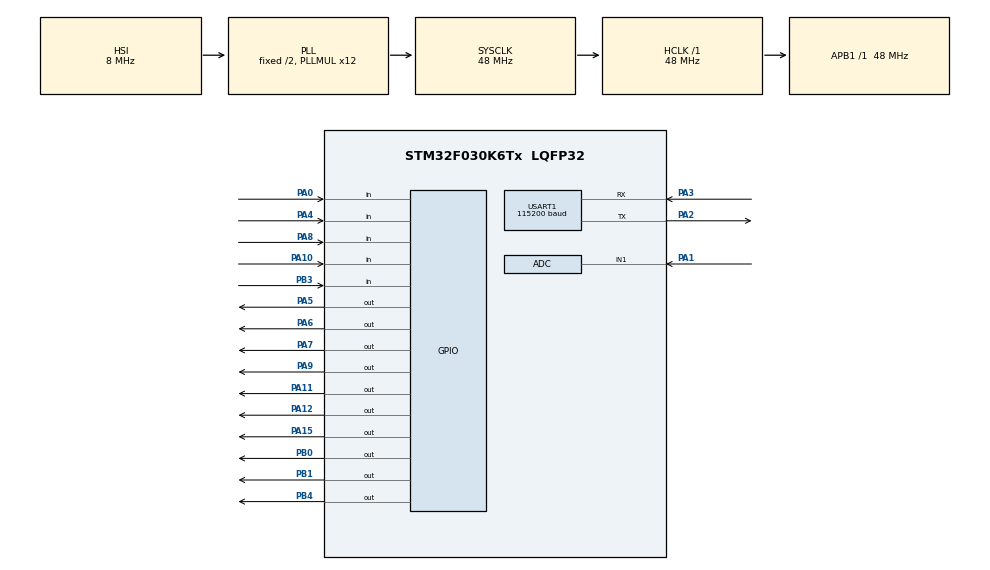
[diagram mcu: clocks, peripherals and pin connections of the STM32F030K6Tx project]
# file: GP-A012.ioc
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Dma.Request0=USART1_RX
Dma.Request1=USART1_TX
Dma.USART1_RX.0.Direction=DMA_PERIPH_TO_MEMORY
Dma.USART1_RX.0.Instance=DMA1_Channel3
Dma.USART1_RX.0.MemDataAlignment=DMA_MDATAALIGN_BYTE
Dma.USART1_RX.0.MemInc=DMA_MINC_ENABLE
Dma.USART1_RX.0.Mode=DMA_CIRCULAR
Dma.USART1_RX.0.PeriphDataAlignment=DMA_PDATAALIGN_BYTE
Dma.USART1_RX.0.PeriphInc=DMA_PINC_DISABLE
Dma.USART1_RX.0.Priority=DMA_PRIORITY_LOW
Dma.USART1_TX.1.Direction=DMA_MEMORY_TO_PERIPH
Dma.USART1_TX.1.Instance=DMA1_Channel2
Dma.USART1_TX.1.MemDataAlignment=DMA_MDATAALIGN_BYTE
Dma.USART1_TX.1.MemInc=DMA_MINC_ENABLE
Dma.USART1_TX.1.Mode=DMA_NORMAL
Dma.USART1_TX.1.PeriphDataAlignment=DMA_PDATAALIGN_BYTE
Dma.USART1_TX.1.PeriphInc=DMA_PINC_DISABLE
Dma.USART1_TX.1.Priority=DMA_PRIORITY_LOW
Mcu.Family=STM32F0
Mcu.Name=STM32F030K6Tx
Mcu.Package=LQFP32
NVIC.DMA1_Channel2_3_IRQn=true\:0\:0\:false\:false\:true\:false
NVIC.USART1_IRQn=true\:0\:0\:false\:false\:true\:true
PA0.Signal=GPIO_Input
PA1.Mode=IN1
PA1.Signal=ADC_IN1
PA10.Signal=GPIO_Input
PA11.Signal=GPIO_Output
PA12.Signal=GPIO_Output
PA13.Mode=Serial_Wire
PA13.Signal=SYS_SWDIO
PA14.Mode=Serial_Wire
PA14.Signal=SYS_SWCLK
PA15.Signal=GPIO_Output
PA2.Mode=Asynchronous
PA2.Signal=USART1_TX
PA3.Mode=Asynchronous
PA3.Signal=USART1_RX
PA4.Signal=GPIO_Input
PA5.Signal=GPIO_Output
PA6.Signal=GPIO_Output
PA7.Signal=GPIO_Output
PA8.Signal=GPIO_Input
PA9.Signal=GPIO_Output
PB0.Signal=GPIO_Output
PB1.Signal=GPIO_Output
PB3.Signal=GPIO_Input
PB4.Signal=GPIO_Output
ProjectManager.HeapSize=0x200
ProjectManager.StackSize=0x400
ProjectManager.TargetToolchain=MDK-ARM V5
RCC.AHBFreq_Value=48000000
RCC.APB1Freq_Value=48000000
RCC.APB1TimFreq_Value=48000000
RCC.HCLKFreq_Value=48000000
RCC.PLLMUL=RCC_PLL_MUL12
RCC.SYSCLKFreq_VALUE=48000000
RCC.SYSCLKSource=RCC_SYSCLKSOURCE_PLLCLK
USART1.BaudRate=115200
USART1.VirtualMode-Asynchronous=VM_ASYNC
board=GP-A012

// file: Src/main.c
/**
 ******************************************************************************
 * File Name          : main.c
 * Description        : Main program body
 ******************************************************************************
 ** This notice applies to any and all portions of this file
 * that are not between comment pairs USER CODE BEGIN and
 * USER CODE END. Other portions of this file, whether
 * inserted by the user or by software development tools
 * are owned by their respective copyright owners.
 *
 * COPYRIGHT(c) 2018 STMicroelectronics
 *
 * Redistribution and use in source and binary forms, with or without
 *modification, are permitted provided that the following conditions are met:
 *   1. Redistributions of source code must retain the above copyright notice,
 *      this list of conditions and the following disclaimer.
 *   2. Redistributions in binary form must reproduce the above copyright
 *notice, this list of conditions and the following disclaimer in the
 *documentation and/or other materials provided with the distribution.
 *   3. Neither the name of STMicroelectronics nor the names of its contributors
 *      may be used to endorse or promote products derived from this software
 *      without specific prior written permission.
 *
 * THIS SOFTWARE IS PROVIDED BY THE COPYRIGHT HOLDERS AND CONTRIBUTORS "AS IS"
 * AND ANY EXPRESS OR IMPLIED WARRANTIES, INCLUDING, BUT NOT LIMITED TO, THE
 * IMPLIED WARRANTIES OF MERCHANTABILITY AND FITNESS FOR A PARTICULAR PURPOSE
 *ARE DISCLAIMED. IN NO EVENT SHALL THE COPYRIGHT HOLDER OR CONTRIBUTORS BE
 *LIABLE FOR ANY DIRECT, INDIRECT, INCIDENTAL, SPECIAL, EXEMPLARY, OR
 *CONSEQUENTIAL DAMAGES (INCLUDING, BUT NOT LIMITED TO, PROCUREMENT OF
 *SUBSTITUTE GOODS OR SERVICES; LOSS OF USE, DATA, OR PROFITS; OR BUSINESS
 *INTERRUPTION) HOWEVER CAUSED AND ON ANY THEORY OF LIABILITY, WHETHER IN
 *CONTRACT, STRICT LIABILITY, OR TORT (INCLUDING NEGLIGENCE OR OTHERWISE)
 *ARISING IN ANY WAY OUT OF THE USE OF THIS SOFTWARE, EVEN IF ADVISED OF THE
 *POSSIBILITY OF SUCH DAMAGE.
 *
 ******************************************************************************
 */

#include "main.h"
#include "stm32f0xx_hal.h"

/* USER CODE BEGIN Includes */
#include "app_main.h"
/* USER CODE END Includes */

uint8_t usartDMA_txBuf[] = "welcome\r\n";
/* USER CODE BEGIN PV */
/* Private variables ---------------------------------------------------------*/

/* USER CODE END PV */

void SystemClock_Config(void);

/* USER CODE BEGIN PFP */
/* Private function prototypes -----------------------------------------------*/
#ifdef __GNUC__
#define PUTCHAR_PROTOTYPE int __io_putchar(int ch)
#else
#define PUTCHAR_PROTOTYPE int fputc(int ch, FILE *f)
#endif

PUTCHAR_PROTOTYPE {
  uint8_t data[1];
  data[0] = ch;
  HAL_UART_Transmit_DMA(&huart1, data, 1);
  while (!__HAL_UART_GET_FLAG(&huart1, UART_FLAG_TC))
    ;
  return ch;
}

void HAL_UART_RxCpltCallback(UART_HandleTypeDef *huart) {
  if (huart == &huart1)
    HAL_UART_Transmit(&huart1, UsartType1.usartDMA_rxBuf, RECEIVELEN, 7);
}
/* USER CODE END PFP */

int main(void) {

  /* MCU
   * Configuration----------------------------------------------------------*/

  /* Reset of all peripherals, Initializes the Flash interface and the Systick.
   */
  HAL_Init();

  /* Configure the system clock */
  SystemClock_Config();

  /* Initialize all configured peripherals */
  MX_GPIO_Init();
  MX_DMA_Init();
  MX_USART1_UART_Init();
  MX_ADC_Init();

  /* USER CODE BEGIN 2 */
  // HAL_StatusTypeDef HAL_UART_Transmit(UART_HandleTypeDef *huart, uint8_t
  // *pData, uint16_t Size, uint32_t Timeout); HAL_StatusTypeDef
  // HAL_UART_Receive(UART_HandleTypeDef *huart, uint8_t *pData, uint16_t Size,
  // uint32_t Timeout);
  //	HAL_UART_Transmit(&huart1,"welcome\r\n",sizeof("welcome\r\n"),10);
  //	printf("welcome\r\n");
  //	HAL_UART_Receive_IT(&huart1,usartDMA_txBuf,15);
  //	HAL_UART_Transmit_DMA(&huart1,"welcome\r\n",sizeof("welcome\r\n"));
  //	while(!__HAL_UART_GET_FLAG(&huart1,UART_FLAG_TC));
  //	printf("welcome you\r\n");
  //	Usart1SendData_DMA(usartDMA_txBuf,sizeof(usartDMA_txBuf));
  //__HAL_UART_ENABLE_IT(&huart1,UART_IT_IDLE);
  //	HAL_UART_Receive_DMA(&huart1,UsartType1.usartDMA_rxBuf,RECEIVELEN);
  // HAL_UART_Transmit_DMA(&huart1,usartDMA_txBuf,sizeof(usartDMA_txBuf));
  //	app_main();
  /* USER CODE END 2 */

  /* Infinite loop */
  /* USER CODE BEGIN WHILE */
  for (uint8_t i = 0; i < 255; i++) {
    for (uint8_t j = 0; j < 255; j++) {
      ;
    }
  }
  app_main();
  while (1) {
    /* USER CODE END WHILE */

    /* USER CODE BEGIN 3 */
    //	if((HAL_UART_Receive(&huart1,receive,7,10))==HAL_OK)
    //		HAL_UART_Transmit(&huart1,receive,sizeof(receive),10);
    //	  HAL_UART_Receive_IT(&huart1,receive,7);
    //	  HAL_UART_Receive_DMA(&huart1,receive,7);
    //	  if(UsartType1.Flag_Receive)
    //	  {
    //		  UsartType1.Flag_Receive=0;
    //		  Usart1SendData_DMA(UsartType1.usartDMA_rxBuf,UsartType1.rx_len);
    //	  }
  }
  /* USER CODE END 3 */
}

/** System Clock Configuration
 */
void SystemClock_Config(void) {

  RCC_OscInitTypeDef RCC_OscInitStruct;
  RCC_ClkInitTypeDef RCC_ClkInitStruct;
  RCC_PeriphCLKInitTypeDef PeriphClkInit;

  /**Initializes the CPU, AHB and APB busses clocks
   */
  RCC_OscInitStruct.OscillatorType = RCC_OSCILLATORTYPE_HSI;
  RCC_OscInitStruct.HSIState = RCC_HSI_ON;
  RCC_OscInitStruct.HSICalibrationValue = 16;
  RCC_OscInitStruct.PLL.PLLState = RCC_PLL_ON;
  RCC_OscInitStruct.PLL.PLLSource = RCC_PLLSOURCE_HSI;
  RCC_OscInitStruct.PLL.PLLMUL = RCC_PLL_MUL12;
  RCC_OscInitStruct.PLL.PREDIV = RCC_PREDIV_DIV1;
  if (HAL_RCC_OscConfig(&RCC_OscInitStruct) != HAL_OK) {
    _Error_Handler(__FILE__, __LINE__);
  }

  /**Initializes the CPU, AHB and APB busses clocks
   */
  RCC_ClkInitStruct.ClockType =
      RCC_CLOCKTYPE_HCLK | RCC_CLOCKTYPE_SYSCLK | RCC_CLOCKTYPE_PCLK1;
  RCC_ClkInitStruct.SYSCLKSource = RCC_SYSCLKSOURCE_PLLCLK;
  RCC_ClkInitStruct.AHBCLKDivider = RCC_SYSCLK_DIV1;
  RCC_ClkInitStruct.APB1CLKDivider = RCC_HCLK_DIV1;

  if (HAL_RCC_ClockConfig(&RCC_ClkInitStruct, FLASH_LATENCY_1) != HAL_OK) {
    _Error_Handler(__FILE__, __LINE__);
  }

  PeriphClkInit.PeriphClockSelection = RCC_PERIPHCLK_USART1;
  PeriphClkInit.Usart1ClockSelection = RCC_USART1CLKSOURCE_PCLK1;
  if (HAL_RCCEx_PeriphCLKConfig(&PeriphClkInit) != HAL_OK) {
    _Error_Handler(__FILE__, __LINE__);
  }

  /**Configure the Systick interrupt time
   */
  HAL_SYSTICK_Config(HAL_RCC_GetHCLKFreq() / 1000);

  /**Configure the Systick
   */
  HAL_SYSTICK_CLKSourceConfig(SYSTICK_CLKSOURCE_HCLK);

  /* SysTick_IRQn interrupt configuration */
  HAL_NVIC_SetPriority(SysTick_IRQn, 0, 0);
}

void _Error_Handler(char *file, int line) {
  while (1) {
  }
}

#ifdef USE_FULL_ASSERT

/**
 * @brief Reports the name of the source file and the source line number
 * where the assert_param error has occurred.
 * @param file: pointer to the source file name
 * @param line: assert_param error line source number
 * @retval None
 */
void assert_failed(uint8_t *file, uint32_t line) {
  /* USER CODE BEGIN 6 */
  /* User can add his own implementation to report the file name and line
    number, ex: printf("Wrong parameters value: file %s on line %d\r\n", file,
    line) */
  /* USER CODE END 6 */
}

#endif

/************************ (C) COPYRIGHT STMicroelectronics *****END OF FILE****/
